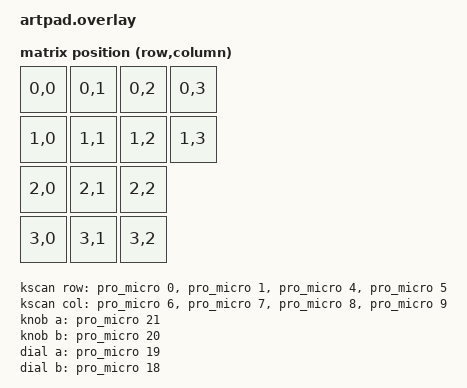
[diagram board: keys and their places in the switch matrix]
/*
 * ArtPad: 11 buttons + 3 clickable encoders on a nice!nano v2 (or clone).
 *
 * Pin budget (16 usable Pro Micro pins, NFC pins 10/16 kept spare):
 *   Rows 0-3      : pro_micro 0, 1, 4, 5     (left edge)
 *   Cols 0-3      : pro_micro 6, 7, 8, 9     (left edge)
 *   I2C (haptics) : pro_micro 2 = SDA, 3 = SCL  -- reserved, not used yet.
 *                   These are the board's default i2c0 pins (pro_micro_i2c).
 *   Encoders      : pro_micro 21/20 knob, 19/18 dial, 15/14 scroll (right edge)
 *
 * Matrix wiring (col2row): column pin -> switch -> diode -> row pin.
 * Diode black band (cathode) faces the ROW.
 */

#include <dt-bindings/zmk/matrix_transform.h>

#include "artpad-layouts.dtsi"

/ {
    chosen {
        zmk,physical-layout = &default_layout;
    };

    kscan: kscan {
        compatible = "zmk,kscan-gpio-matrix";
        // col2row: ZMK drives one column high at a time and reads the rows.
        // Rows get pull-downs so they read 0 unless a pressed switch connects
        // them to the active column.
        diode-direction = "col2row";
        wakeup-source;

        col-gpios
            = <&pro_micro 6 GPIO_ACTIVE_HIGH>   // col 0  P1.00
            , <&pro_micro 7 GPIO_ACTIVE_HIGH>   // col 1  P0.11
            , <&pro_micro 8 GPIO_ACTIVE_HIGH>   // col 2  P1.04
            , <&pro_micro 9 GPIO_ACTIVE_HIGH>   // col 3  P1.06
            ;

        row-gpios
            = <&pro_micro 0 (GPIO_ACTIVE_HIGH | GPIO_PULL_DOWN)>   // row 0  P0.08
            , <&pro_micro 1 (GPIO_ACTIVE_HIGH | GPIO_PULL_DOWN)>   // row 1  P0.06
            , <&pro_micro 4 (GPIO_ACTIVE_HIGH | GPIO_PULL_DOWN)>   // row 2  P0.22
            , <&pro_micro 5 (GPIO_ACTIVE_HIGH | GPIO_PULL_DOWN)>   // row 3  P0.24
            ;
    };

    // Maps physical matrix positions (row, col) to keymap positions, in order.
    // The 2 spare slots RC(2,3) and RC(3,3) are left out. To use one later,
    // add it here AND add a binding in every keymap layer at the same spot.
    default_transform: default_transform {
        compatible = "zmk,matrix-transform";
        columns = <4>;
        rows = <4>;

        map = <
            RC(0,0) RC(0,1) RC(0,2) RC(0,3)   // D-pad: up, down, left, right
            RC(1,0) RC(1,1) RC(1,2) RC(1,3)   // B1 B2 B3 B4
            RC(2,0) RC(2,1) RC(2,2)           // B5 B6 B7
            RC(3,0) RC(3,1) RC(3,2)           // knob click, dial click, scroll click
        >;
    };

    // Encoders: A/B are quadrature signals, read on interrupts (not scanned).
    // The common pin (C on a bare EC11, GND on a KY-040) goes to GND, so the
    // pins idle high via pull-up and are pulled low as the contacts close.
    // steps = 80: a typical EC11 has 20 detents x 4 signal edges per detent.
    knob: knob {
        compatible = "alps,ec11";
        a-gpios = <&pro_micro 21 (GPIO_ACTIVE_HIGH | GPIO_PULL_UP)>;  // P0.31
        b-gpios = <&pro_micro 20 (GPIO_ACTIVE_HIGH | GPIO_PULL_UP)>;  // P0.29
        steps = <80>;
        status = "okay";
    };

    dial: dial {
        compatible = "alps,ec11";
        a-gpios = <&pro_micro 19 (GPIO_ACTIVE_HIGH | GPIO_PULL_UP)>;  // P0.02
        b-gpios = <&pro_micro 18 (GPIO_ACTIVE_HIGH | GPIO_PULL_UP)>;  // P1.15
        steps = <80>;
        status = "okay";
    };

    scroll: scroll {
        compatible = "alps,ec11";
        a-gpios = <&pro_micro 15 (GPIO_ACTIVE_HIGH | GPIO_PULL_UP)>;  // P1.13
        b-gpios = <&pro_micro 14 (GPIO_ACTIVE_HIGH | GPIO_PULL_UP)>;  // P1.11
        steps = <80>;
        status = "okay";
    };

    // Tells the keymap which sensors exist; sensor-bindings in the keymap are
    // matched to these in the same order (knob, dial, scroll).
    // triggers-per-rotation = 20: one key press per detent click.
    sensors: sensors {
        compatible = "zmk,keymap-sensors";
        sensors = <&knob &dial &scroll>;
        triggers-per-rotation = <20>;
    };
};
